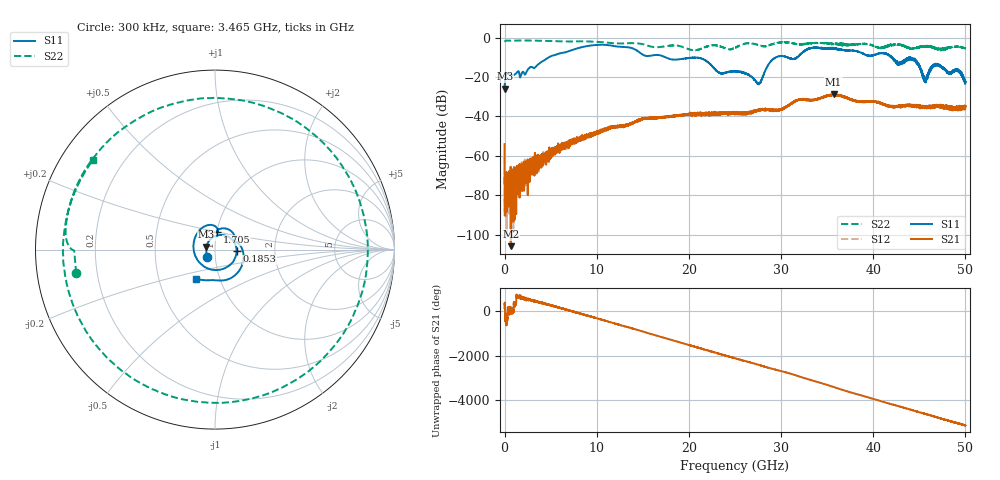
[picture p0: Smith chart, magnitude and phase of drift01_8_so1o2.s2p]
!Created with skrf (http://scikit-rf.org).
# Hz S RI R 50.0
!freq ReS11 ImS11 ReS21 ImS21 ReS12 ImS12 ReS22 ImS22
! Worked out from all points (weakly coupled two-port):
!   10001 points, 300 kHz to 50 GHz, reference 50 ohm
!   highest |S21| = -28.78 dB at 35.7 GHz (marker M1); lowest = -105.9 dB at 670.3 MHz (marker M2)
!   lowest |S11| = -25.8 dB at 5.3 MHz (marker M3), VSWR 1.11, Z = 45.3 + j1.42 ohm
!   |S11| at or under -10 dB: start of sweep to 4.761 GHz; 17.5 GHz to 29.42 GHz (11.92 GHz wide, 50.8 % of centre); 44.04 GHz to end of sweep (the widest 3 of 12)
!   |S22| runs from -6.5 to -1.4 dB; largest |S21 - S12| = 0.0044
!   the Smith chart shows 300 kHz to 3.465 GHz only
!   S11 on the Smith chart (normalised r, x): 300 kHz: 0.91, -0.07; 185.3 MHz: 1.27, -0.02; 1.705 GHz: 1.00, +0.20; 3.465 GHz: 0.77, -0.26
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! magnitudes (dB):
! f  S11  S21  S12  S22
! 300 kHz  -24.2  -54.1  -60.6  -2.1
! 5.3 MHz  -25.8  -74.3  -90.3  -2.1
! 185.3 MHz  -18.4  -77.5  -88.4  -1.4
! 670.3 MHz  -18.9  -105.9  -71.6  -1.5
! 1.705 GHz  -20.0  -66.6  -66.8  -1.4
! 3.465 GHz  -14.3  -64.9  -64.9  -1.5
! 8.335 GHz  -4.8  -51.7  -51.1  -1.8
! 16.67 GHz  -8.7  -40.7  -40.7  -4.8
! 21.14 GHz  -10.3  -38.7  -39.0  -5.9
! 25 GHz  -17.1  -38.6  -38.2  -5.1
! 27.59 GHz  -23.7  -36.7  -36.5  -3.9
! 29.28 GHz  -10.3  -36.8  -36.7  -2.8
! 31.45 GHz  -10.8  -32.4  -32.3  -3.1
! 33.34 GHz  -5.2  -31.7  -31.6  -2.7
! 35.7 GHz  -5.3  -28.8  -29.1  -3.1
! 41.67 GHz  -8.9  -34.5  -34.9  -4.2
! 42.74 GHz  -13.0  -34.8  -34.8  -3.3
! 44.43 GHz  -11.3  -34.6  -34.5  -5.2
! 45.63 GHz  -21.9  -35.4  -36.0  -4.2
! 46.9 GHz  -13.3  -34.3  -34.9  -5.3
! 49.25 GHz  -17.1  -35.9  -36.0  -4.7
! 50 GHz  -22.4  -34.8  -34.7  -5.4
